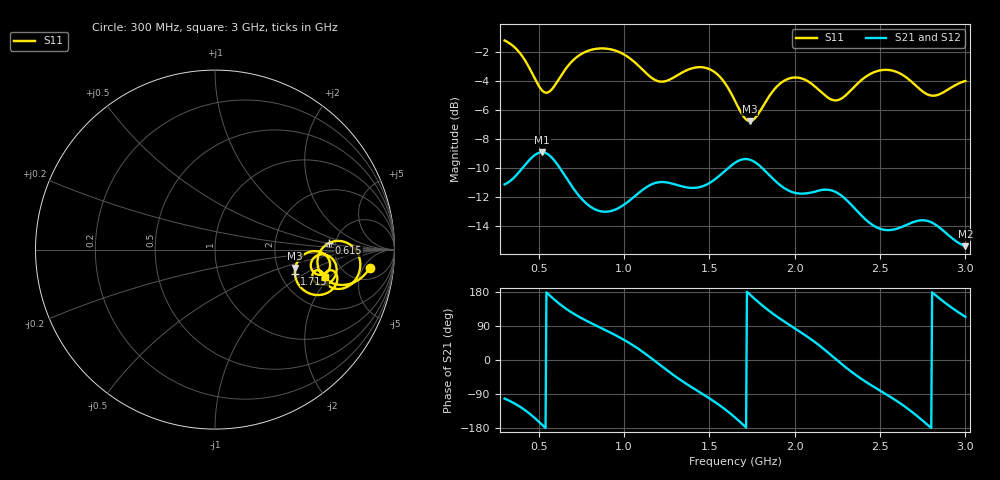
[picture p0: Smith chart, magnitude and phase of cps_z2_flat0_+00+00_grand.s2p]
! cps_z2_flat0_+00+00_grand
! simulated by sim/fixtures_fdtd.py (S12 = S21, S22 not computed)
# HZ S RI R 50
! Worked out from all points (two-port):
!   541 points, 300 MHz to 3 GHz, reference 50 ohm
!   highest |S21| = -8.91 dB at 520 MHz (marker M1); lowest = -15.4 dB at 3 GHz (marker M2)
!   |S21| within 3 dB of the highest: start of sweep to 736.4 MHz; 1.065 GHz to 2.276 GHz (1.211 GHz wide, 72.5 % of centre)
!   lowest |S11| = -6.8 dB at 1.735 GHz (marker M3), VSWR 2.69, Z = 125 - j32.3 ohm
!   |S11| at or under -10 dB: nowhere
!   |S22| runs from - to - dB; largest |S21 - S12| = 0
!   S11 on the Smith chart (normalised r, x): 300 MHz: 8, -7; 615 MHz: 4.41, +0.53; 1.715 GHz: 2.41, -0.82; 3 GHz: 3.44, -1.76
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3e8  0.8618 -0.1013  -0.0566 -0.2722  -0.0566 -0.2722  0 0
4.25e8  0.7056 -0.1973  -0.2276 -0.2344  -0.2276 -0.2344  0 0
5.2e8  0.5753 -0.1013  -0.354 -0.056  -0.354 -0.056  0 0
6.15e8  0.6341 0.0361  -0.2801 0.1584  -0.2801 0.1584  0 0
7.5e8  0.7801 0.00226  -0.0871 0.2327  -0.0871 0.2327  0 0
8.85e8  0.8062 -0.115  0.0387 0.2205  0.0387 0.2205  0 0
1.025e9  0.7303 -0.2103  0.1673 0.176  0.1673 0.176  0 0
1.2e9  0.6086 -0.1577  0.2787 -0.0463  0.2787 -0.0463  0 0
1.31e9  0.6474 -0.1149  0.1912 -0.2  0.1912 -0.2  0 0
1.435e9  0.6806 -0.1734  0.0342 -0.2693  0.0342 -0.2693  0 0
1.56e9  0.6027 -0.2495  -0.1471 -0.2593  -0.1471 -0.2593  0 0
1.65e9  0.49 -0.2226  -0.2901 -0.157  -0.2901 -0.157  0 0
1.715e9  0.445 -0.1336  -0.3395 -0.0118  -0.3395 -0.0118  0 0
1.735e9  0.447 -0.102  -0.3361 0.0372  -0.3361 0.0372  0 0
1.88e9  0.5887 -0.0143  -0.1423 0.2502  -0.1423 0.2502  0 0
1.985e9  0.6412 -0.08  0.00924 0.2615  0.00924 0.2615  0 0
2.1e9  0.5989 -0.1409  0.1561 0.209  0.1561 0.209  0 0
2.26e9  0.5396 -0.0619  0.2567 -0.0224  0.2567 -0.0224  0 0
2.38e9  0.6255 -0.0315  0.1515 -0.1604  0.1515 -0.1604  0 0
2.55e9  0.6728 -0.1394  -0.0151 -0.193  -0.0151 -0.193  0 0
2.78e9  0.5432 -0.1575  -0.206 -0.0297  -0.206 -0.0297  0 0
3e9  0.6105 -0.1543  -0.069 0.156  -0.069 0.156  0 0
